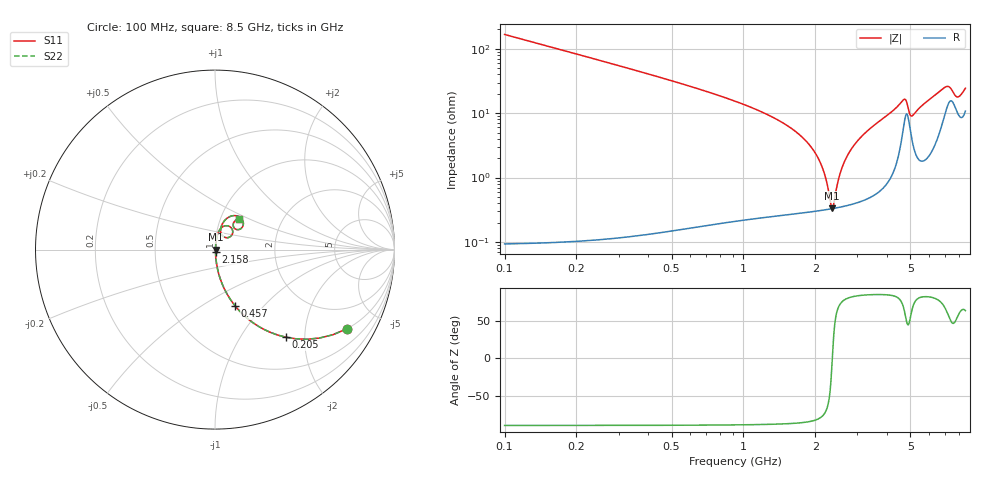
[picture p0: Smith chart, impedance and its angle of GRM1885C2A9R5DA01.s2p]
!Murata Part Number: GRM1885C2A9R5DA01
!These Parameters are Measured in Series Mode Connection
!Data Generated on Mar 30, 2021
!  o--ll--o
!Port1  Port2
!  o------o
!Operation Temp=25[degC], DC Bias Voltage=0[V]
!Freq. Start=100[MHz] Stop=9[GHz] 401[Steps]
# Hz S RI R 50
!Freq.(Hz) S11(Real) S11(Imag) S21(Real) S21(Imag) S12(Real) S12(Imag) S22(Real) S22(Imag)
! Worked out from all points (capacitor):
!   401 points, 100 MHz to 8.5 GHz, reference 50 ohm
!   read as one part in series: C = 9.5 pF near 142 MHz
!   lowest |Z| = 333 mohm at 2.347 GHz (marker M1)
!   series resonance near 2.356 GHz, so ESL is about 480 pH
!   S11 on the Smith chart (normalised r, x): 100 MHz: 1.00, -3.34; 205 MHz: 1.00, -1.62; 457 MHz: 1.00, -0.70; 2.158 GHz: 1.01, -0.03; 8.5 GHz: 1.22, +0.44
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1e8  0.7365 -0.4403  0.2635 0.4403  0.2635 0.4403  0.7365 -0.4403
2.05e8  0.3968 -0.4886  0.6032 0.4886  0.6032 0.4886  0.3968 -0.4886
3.1e8  0.2203 -0.4134  0.7797 0.4134  0.7797 0.4134  0.2203 -0.4134
4.57e8  0.1115 -0.3127  0.8885 0.3127  0.8885 0.3127  0.1115 -0.3127
8.56e8  0.0299 -0.1644  0.9701 0.1644  0.9701 0.1644  0.0299 -0.1644
1.507e9  0.00694 -0.0655  0.9931 0.0655  0.9931 0.0655  0.00694 -0.0655
1.906e9  0.00386 -0.0306  0.9961 0.0306  0.9961 0.0306  0.00386 -0.0306
2.158e9  0.00327 -0.0127  0.9967 0.0127  0.9967 0.0127  0.00327 -0.0127
2.347e9  0.00327 -0.000564  0.9967 0.000564  0.9967 0.000564  0.00327 -0.000564
2.389e9  0.00332 0.00201  0.9967 -0.00201  0.9967 -0.00201  0.00332 0.00201
2.494e9  0.00348 0.0083  0.9965 -0.0083  0.9965 -0.0083  0.00348 0.0083
2.599e9  0.00373 0.0144  0.9963 -0.0144  0.9963 -0.0144  0.00373 0.0144
2.914e9  0.00494 0.0318  0.9951 -0.0318  0.9951 -0.0318  0.00494 0.0318
3.397e9  0.00818 0.0571  0.9918 -0.0571  0.9918 -0.0571  0.00818 0.0571
4.3e9  0.0261 0.1104  0.9739 -0.1104  0.9739 -0.1104  0.0261 0.1104
4.72e9  0.0857 0.1257  0.9143 -0.1257  0.9143 -0.1257  0.0857 0.1257
4.972e9  0.0625 0.0663  0.9375 -0.0663  0.9375 -0.0663  0.0625 0.0663
5.056e9  0.0462 0.073  0.9538 -0.073  0.9538 -0.073  0.0462 0.073
5.707e9  0.0359 0.1315  0.9641 -0.1315  0.9641 -0.1315  0.0359 0.1315
7.114e9  0.1447 0.1755  0.8553 -0.1755  0.8553 -0.1755  0.1447 0.1755
7.849e9  0.1098 0.1176  0.8902 -0.1176  0.8902 -0.1176  0.1098 0.1176
8.5e9  0.1314 0.1723  0.8686 -0.1723  0.8686 -0.1723  0.1314 0.1723
